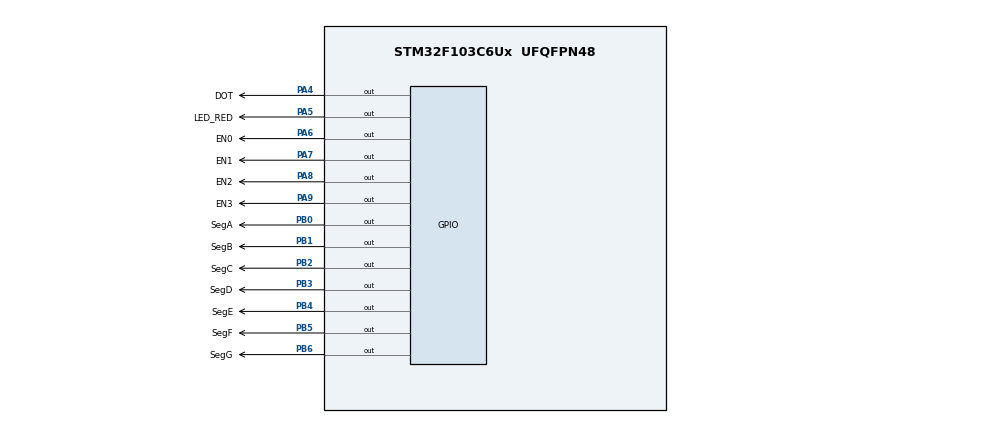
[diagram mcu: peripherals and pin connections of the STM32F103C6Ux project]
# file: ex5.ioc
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Mcu.Family=STM32F1
Mcu.Name=STM32F103C6Ux
Mcu.Package=UFQFPN48
NVIC.PriorityGroup=NVIC_PRIORITYGROUP_4
NVIC.TIM2_IRQn=true\:0\:0\:false\:false\:true\:true\:true
PA4.GPIO_Label=DOT
PA4.Signal=GPIO_Output
PA5.GPIO_Label=LED_RED
PA5.Signal=GPIO_Output
PA6.GPIO_Label=EN0
PA6.Signal=GPIO_Output
PA7.GPIO_Label=EN1
PA7.Signal=GPIO_Output
PA8.GPIO_Label=EN2
PA8.Signal=GPIO_Output
PA9.GPIO_Label=EN3
PA9.Signal=GPIO_Output
PB0.GPIO_Label=SegA
PB0.Signal=GPIO_Output
PB1.GPIO_Label=SegB
PB1.Signal=GPIO_Output
PB2.GPIO_Label=SegC
PB2.Signal=GPIO_Output
PB3.GPIO_Label=SegD
PB3.Signal=GPIO_Output
PB4.GPIO_Label=SegE
PB4.Signal=GPIO_Output
PB5.GPIO_Label=SegF
PB5.Signal=GPIO_Output
PB6.GPIO_Label=SegG
PB6.Signal=GPIO_Output
ProjectManager.HeapSize=0x200
ProjectManager.StackSize=0x400
ProjectManager.TargetToolchain=STM32CubeIDE
RCC.APB1Freq_Value=8000000
RCC.APB2Freq_Value=8000000
TIM2.Period=9
TIM2.Prescaler=7999
VP_SYS_VS_ND.Mode=No_Debug
VP_TIM2_VS_ClockSourceINT.Mode=Internal
board=custom

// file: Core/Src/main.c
/* USER CODE BEGIN Header */
/**
  ******************************************************************************
  * @file           : main.c
  * @brief          : Main program body
  ******************************************************************************
  * @attention
  *
  * <h2><center>&copy; Copyright (c) 2023 STMicroelectronics.
  * All rights reserved.</center></h2>
  *
  * This software component is licensed by ST under BSD 3-Clause license,
  * the "License"; You may not use this file except in compliance with the
  * License. You may obtain a copy of the License at:
  *                        opensource.org/licenses/BSD-3-Clause
  *
  ******************************************************************************
  */
/* USER CODE END Header */
#include "main.h"

/* USER CODE BEGIN Includes */
#include "sofware_timer.h"
#include "myLib.h"
/* USER CODE END Includes */

TIM_HandleTypeDef htim2;

void SystemClock_Config(void);
static void MX_GPIO_Init(void);
static void MX_TIM2_Init(void);

int main(void)
{

  /* MCU Configuration--------------------------------------------------------*/

  /* Reset of all peripherals, Initializes the Flash interface and the Systick. */
  HAL_Init();

  /* Configure the system clock */
  SystemClock_Config();

  /* Initialize all configured peripherals */
  MX_GPIO_Init();
  MX_TIM2_Init();
  /* USER CODE BEGIN 2 */
  HAL_TIM_Base_Start_IT(&htim2);
  void enState(uint8_t enIndex) {
  	HAL_GPIO_WritePin(GPIOA, GPIO_PIN_(6), SET);
  	HAL_GPIO_WritePin(GPIOA, GPIO_PIN_(7), SET);
  	HAL_GPIO_WritePin(GPIOA, GPIO_PIN_(8), SET);
  	HAL_GPIO_WritePin(GPIOA, GPIO_PIN_(9), SET);
  	HAL_GPIO_WritePin(GPIOA, GPIO_PIN_(enIndex + 6), RESET);
  }
  const uint8_t MAX_LED = 4;
  uint8_t index_led = 0;
  uint8_t led_buffer[4] = {1, 2, 3, 4};
  void update7SEG(int index){
//      switch (index){
//          case 0:
//              //Display the first 7SEG with led_buffer[0]
//        	  enState(0);
//              break;
//          case 1:
//              //Display the second 7SEG with led_buffer[1]
//        	  enState(1);
//              break;
//          case 2:
//              //Display the third 7SEG with led_buffer[2]
//        	  enState(2);
//              break;
//          case 3:
//              //Display the forth 7SEG with led_buffer[3]
//        	  enState(3);
//              break;
//          default:
//              break;
//      }
	  enState(index);
      display7SEG1(led_buffer[index]);
  }
  uint8_t hour = 15 , minute = 8 , second = 50;
  void updateClockBuffer() {
	  led_buffer[0] = hour / 10;
	  led_buffer[1] = hour % 10;
	  led_buffer[2] = minute / 10;
	  led_buffer[3] = minute % 10;
}
  setTimer(0, 100);
  setTimer(1, 10);
  setTimer(2, 100);
  setTimer(3, 100);
  /* USER CODE END 2 */

  /* Infinite loop */
  /* USER CODE BEGIN WHILE */
  while (1)
  {
	  if (timerFlag[0] == 1) {
		  setTimer(0, 100);
		  HAL_GPIO_TogglePin(GPIOA, LED_RED_Pin);
	  }
	  if (timerFlag[1] == 1) {
		  setTimer(1, 10);
		  update7SEG(index_led++);
		  if (index_led >= MAX_LED)
			  index_led = 0;
	  }
	  if (timerFlag[2] == 1) {
		  setTimer(2, 100);
		  HAL_GPIO_TogglePin(GPIOA, DOT_Pin);
	  }
	  if (timerFlag[3] == 1) {
		  setTimer(3, 100);
		  second++;
		  if (second >= 60){
		      second = 0;
		      minute++;
		  }
		  if(minute >= 60){
		      minute = 0;
		      hour++;
		  }
		  if(hour >= 24){
		      hour = 0;
		  }
		  updateClockBuffer();
	  }
    /* USER CODE END WHILE */

  }
}

void SystemClock_Config(void)
{
  RCC_OscInitTypeDef RCC_OscInitStruct = {0};
  RCC_ClkInitTypeDef RCC_ClkInitStruct = {0};

  /** Initializes the RCC Oscillators according to the specified parameters
  * in the RCC_OscInitTypeDef structure.
  */
  RCC_OscInitStruct.OscillatorType = RCC_OSCILLATORTYPE_HSI;
  RCC_OscInitStruct.HSIState = RCC_HSI_ON;
  RCC_OscInitStruct.HSICalibrationValue = RCC_HSICALIBRATION_DEFAULT;
  RCC_OscInitStruct.PLL.PLLState = RCC_PLL_NONE;
  if (HAL_RCC_OscConfig(&RCC_OscInitStruct) != HAL_OK)
  {
    Error_Handler();
  }
  /** Initializes the CPU, AHB and APB buses clocks
  */
  RCC_ClkInitStruct.ClockType = RCC_CLOCKTYPE_HCLK|RCC_CLOCKTYPE_SYSCLK
                              |RCC_CLOCKTYPE_PCLK1|RCC_CLOCKTYPE_PCLK2;
  RCC_ClkInitStruct.SYSCLKSource = RCC_SYSCLKSOURCE_HSI;
  RCC_ClkInitStruct.AHBCLKDivider = RCC_SYSCLK_DIV1;
  RCC_ClkInitStruct.APB1CLKDivider = RCC_HCLK_DIV1;
  RCC_ClkInitStruct.APB2CLKDivider = RCC_HCLK_DIV1;

  if (HAL_RCC_ClockConfig(&RCC_ClkInitStruct, FLASH_LATENCY_0) != HAL_OK)
  {
    Error_Handler();
  }
}

static void MX_TIM2_Init(void)
{

  TIM_ClockConfigTypeDef sClockSourceConfig = {0};
  TIM_MasterConfigTypeDef sMasterConfig = {0};

  htim2.Instance = TIM2;
  htim2.Init.Prescaler = 7999;
  htim2.Init.CounterMode = TIM_COUNTERMODE_UP;
  htim2.Init.Period = 9;
  htim2.Init.ClockDivision = TIM_CLOCKDIVISION_DIV1;
  htim2.Init.AutoReloadPreload = TIM_AUTORELOAD_PRELOAD_DISABLE;
  if (HAL_TIM_Base_Init(&htim2) != HAL_OK)
  {
    Error_Handler();
  }
  sClockSourceConfig.ClockSource = TIM_CLOCKSOURCE_INTERNAL;
  if (HAL_TIM_ConfigClockSource(&htim2, &sClockSourceConfig) != HAL_OK)
  {
    Error_Handler();
  }
  sMasterConfig.MasterOutputTrigger = TIM_TRGO_RESET;
  sMasterConfig.MasterSlaveMode = TIM_MASTERSLAVEMODE_DISABLE;
  if (HAL_TIMEx_MasterConfigSynchronization(&htim2, &sMasterConfig) != HAL_OK)
  {
    Error_Handler();
  }

}

static void MX_GPIO_Init(void)
{
  GPIO_InitTypeDef GPIO_InitStruct = {0};

  /* GPIO Ports Clock Enable */
  __HAL_RCC_GPIOA_CLK_ENABLE();
  __HAL_RCC_GPIOB_CLK_ENABLE();

  /*Configure GPIO pin Output Level */
  HAL_GPIO_WritePin(GPIOA, DOT_Pin|LED_RED_Pin|EN0_Pin|EN1_Pin
                          |EN2_Pin|EN3_Pin, GPIO_PIN_RESET);

  /*Configure GPIO pin Output Level */
  HAL_GPIO_WritePin(GPIOB, SegA_Pin|SegB_Pin|SegC_Pin|SegD_Pin
                          |SegE_Pin|SegF_Pin|SegG_Pin, GPIO_PIN_RESET);

  /*Configure GPIO pins : DOT_Pin LED_RED_Pin EN0_Pin EN1_Pin
                           EN2_Pin EN3_Pin */
  GPIO_InitStruct.Pin = DOT_Pin|LED_RED_Pin|EN0_Pin|EN1_Pin
                          |EN2_Pin|EN3_Pin;
  GPIO_InitStruct.Mode = GPIO_MODE_OUTPUT_PP;
  GPIO_InitStruct.Pull = GPIO_NOPULL;
  GPIO_InitStruct.Speed = GPIO_SPEED_FREQ_LOW;
  HAL_GPIO_Init(GPIOA, &GPIO_InitStruct);

  /*Configure GPIO pins : SegA_Pin SegB_Pin SegC_Pin SegD_Pin
                           SegE_Pin SegF_Pin SegG_Pin */
  GPIO_InitStruct.Pin = SegA_Pin|SegB_Pin|SegC_Pin|SegD_Pin
                          |SegE_Pin|SegF_Pin|SegG_Pin;
  GPIO_InitStruct.Mode = GPIO_MODE_OUTPUT_PP;
  GPIO_InitStruct.Pull = GPIO_NOPULL;
  GPIO_InitStruct.Speed = GPIO_SPEED_FREQ_LOW;
  HAL_GPIO_Init(GPIOB, &GPIO_InitStruct);

}

/* USER CODE BEGIN 4 */
void HAL_TIM_PeriodElapsedCallback(TIM_HandleTypeDef *htim) {
	timerRun(0);
	timerRun(1);
	timerRun(2);
	timerRun(3);
}
/* USER CODE END 4 */

void Error_Handler(void)
{
  __disable_irq();
  while (1)
  {
  }
}

/************************ (C) COPYRIGHT STMicroelectronics *****END OF FILE****/
